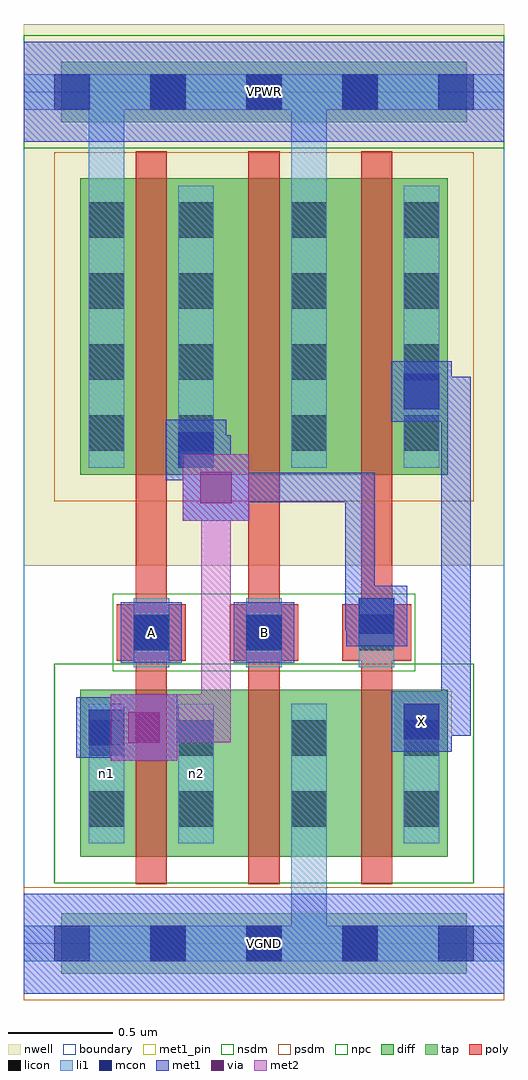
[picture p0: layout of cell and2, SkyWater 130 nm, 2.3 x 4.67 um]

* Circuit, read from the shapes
.subckt and2 A B VGND VPWR X n1 n2
XM1 n2 A n1 VGND sky130_fd_pr__nfet_01v8 w=0.8 l=0.15
XM2 VGND B n2 VGND sky130_fd_pr__nfet_01v8 w=0.8 l=0.15
XM3 X n1 VGND VGND sky130_fd_pr__nfet_01v8 w=0.8 l=0.15
XM4 n1 A VPWR VPWR sky130_fd_pr__pfet_01v8 w=1.42 l=0.15
XM5 VPWR B n1 VPWR sky130_fd_pr__pfet_01v8 w=1.42 l=0.15
XM6 X n1 VPWR VPWR sky130_fd_pr__pfet_01v8 w=1.42 l=0.15
.ends

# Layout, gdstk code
import gdstk
lib = gdstk.Library(unit=1e-6, precision=1e-09)
def R(c, l, rs):  # rectangles x0, y0, x1, y1
    for r in rs: c.add(gdstk.rectangle(r[:2], r[2:], *l))
def A(c, l, x, y, w, h, nx, ny, dx, dy):  # array of equal rectangles
    R(c, l, [(x+i*dx, y+j*dy, x+i*dx+w, y+j*dy+h) for i in range(nx) for j in range(ny)])
nwell = (64, 20)
diff = (65, 20)
tap = (65, 44)
poly = (66, 20)
licon = (66, 44)
li1 = (67, 20)
mcon = (67, 44)
met1_pin = (68, 16)
met1 = (68, 20)
via = (68, 44)
met2 = (69, 20)
nsdm = (93, 44)
psdm = (94, 20)
npc = (95, 20)
boundary = (235, 4)

and2 = lib.new_cell('and2')
R(and2, nwell, [(0,1.81,2.3,4.405)])
R(and2, diff, [(0.27,0.415,2.03,1.215), (0.27,2.245,2.03,3.665)])
R(and2, tap, [(0.18,-0.145,2.12,0.145), (0.18,3.935,2.12,4.225)])
A(and2, poly, 0.535, 0.285, 0.15, 3.51, 3, 1, 0.54, 0)
A(and2, poly, 0.445, 1.355, 0.33, 0.27, 3, 1, 0.54, 0)
A(and2, licon, 0.605, -0.085, 0.17, 0.17, 3, 2, 0.46, 4.08)
A(and2, licon, 0.74, 0.56, 0.17, 0.17, 3, 2, 0.54, 0.34)
A(and2, licon, 0.525, 1.405, 0.17, 0.17, 3, 1, 0.54, 0)
A(and2, licon, 0.31, 2.36, 0.17, 0.17, 1, 4, 0, 0.34)
A(and2, licon, 0.74, 2.36, 0.17, 0.17, 3, 4, 0.54, 0.34)
R(and2, licon, [(0.31,0.56,0.48,0.73), (0.31,0.9,0.48,1.07)])
A(and2, li1, 0.74, 0.48, 0.17, 0.67, 3, 1, 0.54, 0)
A(and2, li1, 0.525, 1.325, 0.17, 0.33, 3, 1, 0.54, 0)
A(and2, li1, 0.74, 2.28, 0.17, 1.35, 3, 1, 0.54, 0)
R(and2, li1, [(0,-0.085,2.3,0.085), (1.28,-0.085,1.45,1.15), (0.31,0.48,0.48,1.15), (0.31,2.28,0.48,3.63), (0.31,2.28,0.48,4.165), (1.28,2.28,1.45,4.165), (0,3.995,2.3,4.165)])
A(and2, mcon, 0.145, -0.085, 0.17, 0.17, 5, 2, 0.46, 4.08)
R(and2, mcon, [(0.31,0.95,0.48,1.12), (1.82,0.98,1.99,1.15), (0.525,1.405,0.695,1.575), (1.065,1.405,1.235,1.575), (1.605,1.485,1.775,1.655), (0.74,2.28,0.91,2.45), (1.82,2.56,1.99,2.73)])
R(and2, met1_pin, [(0,-0.24,2.3,0.24), (1.76,0.92,2.05,1.21), (0.465,1.345,0.755,1.635), (1.005,1.345,1.295,1.635), (0,3.84,2.3,4.32)])
R(and2, met1, [(0,-0.24,2.3,0.24), (0.415,0.875,0.735,1.195), (0.25,0.89,0.54,1.18), (1.76,0.92,2.05,1.21), (0.325,0.965,0.645,1.105), (1.835,0.995,2.14,1.135), (2,0.995,2.14,1.335), (2,1.195,2.14,2.715), (0.465,1.345,0.755,1.635), (1.005,1.345,1.295,1.635), (1.545,1.425,1.835,1.715), (1.54,1.5,1.76,1.64), (1.54,1.5,1.68,1.795), (1.54,1.655,1.68,2.255), (0.76,2.025,1.08,2.345), (0.85,2.115,0.99,2.435), (0.85,2.115,1.68,2.255), (0.68,2.22,0.97,2.51), (0.755,2.295,0.99,2.435), (1.76,2.5,2.05,2.79), (1.835,2.575,2.14,2.715), (0,3.84,2.3,4.32)])
R(and2, via, [(0.5,0.96,0.65,1.11), (0.845,2.11,0.995,2.26)])
R(and2, met2, [(0.415,0.875,0.735,1.195), (0.505,0.965,0.99,1.105), (0.735,0.965,0.85,1.195), (0.85,0.965,0.99,2.255), (0.76,2.025,1.08,2.345)])
R(and2, nsdm, [(0.145,0.29,2.155,1.34), (0,3.81,2.3,4.35)])
R(and2, psdm, [(0,-0.27,2.3,0.27), (0.145,2.12,2.155,3.79)])
R(and2, npc, [(0.425,1.305,1.875,1.675)])
R(and2, boundary, [(0,0,2.3,4.08)])
and2.add(gdstk.Label('n1', (0.395,0.815), layer=67, texttype=5))
and2.add(gdstk.Label('n2', (0.825,0.815), layer=67, texttype=5))
and2.add(gdstk.Label('A', (0.61,1.49), layer=68, texttype=5))
and2.add(gdstk.Label('B', (1.15,1.49), layer=68, texttype=5))
and2.add(gdstk.Label('X', (1.905,1.065), layer=68, texttype=5))
and2.add(gdstk.Label('VPWR', (1.15,4.08), layer=68, texttype=5))
and2.add(gdstk.Label('VGND', (1.15,0), layer=68, texttype=5))
and2.add(gdstk.Label('A', (0.61,1.49), layer=68, texttype=16))
and2.add(gdstk.Label('B', (1.15,1.49), layer=68, texttype=16))
and2.add(gdstk.Label('X', (1.905,1.065), layer=68, texttype=16))
and2.add(gdstk.Label('VPWR', (1.15,4.08), layer=68, texttype=16))
and2.add(gdstk.Label('VGND', (1.15,0), layer=68, texttype=16))

lib.write_gds('and2.gds')
